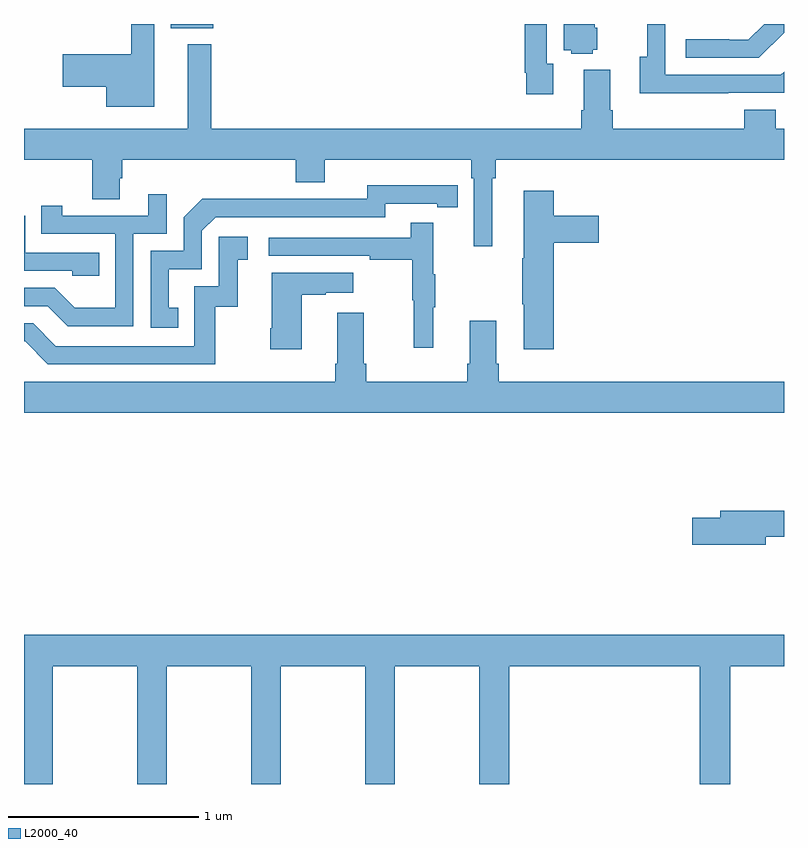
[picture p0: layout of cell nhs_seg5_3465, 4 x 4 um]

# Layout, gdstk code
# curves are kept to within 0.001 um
import gdstk
lib = gdstk.Library(unit=1e-6, precision=1e-09)
def R(c, l, rs):  # rectangles x0, y0, x1, y1
    for r in rs: c.add(gdstk.rectangle(r[:2], r[2:], *l))
def P(c, l, *ps):  # polygons
    for p in ps: c.add(gdstk.Polygon(p, *l))
L2000_40 = (2000, 40)

nhs_seg5_3465 = lib.new_cell('nhs_seg5_3465')
R(nhs_seg5_3465, L2000_40, [(315.773,866.777,315.996,866.799)])
P(nhs_seg5_3465, L2000_40, [(317.785,866.591),(317.751,866.591),(317.751,866.799),(317.635,866.799),(317.635,866.542),(317.643,866.542),(317.643,866.43),(317.785,866.43)],
  [(315.685,866.799),(315.564,866.799),(315.564,866.639),(315.204,866.639),(315.204,866.468),(315.434,866.468),(315.434,866.363),(315.685,866.363)],
  [(319,866.754),(319,866.799),(318.897,866.799),(318.813,866.715),(318.713,866.715),(318.713,866.718),(318.483,866.718),(318.483,866.622),(318.868,866.622)],
  [(317.994,866.664),(318.016,866.664),(318.016,866.778),(318.004,866.778),(318.004,866.799),(317.84,866.799),(317.84,866.66),(317.88,866.66),(317.88,866.642),(317.994,866.642)],
  [(318.707,866.436),(319,866.436),(319,866.548),(318.984,866.532),(318.375,866.532),(318.375,866.799),(318.279,866.799),(318.279,866.626),(318.242,866.626),(318.242,866.435),(318.707,866.435)],
  [(317.464,865.988),(317.483,865.988),(317.483,866.084),(319,866.084),(319,866.248),(318.956,866.248),(318.956,866.347),(318.791,866.347),(318.791,866.248),(318.098,866.248),(318.098,866.344),(318.085,866.344),(318.085,866.557),(317.945,866.557),(317.945,866.344),(317.933,866.344),(317.933,866.248),(315.985,866.248),(315.985,866.692),(315.863,866.692),(315.863,866.248),(315,866.248),(315,866.084),(315.358,866.084),(315.358,865.876),(315.505,865.876),(315.505,865.986),(315.518,865.986),(315.518,866.084),(316.43,866.084),(316.43,865.967),(316.582,865.967),(316.582,866.084),(317.354,866.084),(317.354,865.988),(317.367,865.988),(317.367,865.629),(317.464,865.629)],
  [(315.812,865.305),(315.763,865.305),(315.763,865.509),(315.936,865.509),(315.936,865.71),(316.008,865.782),(316.902,865.782),(316.902,865.854),(317.174,865.854),(317.174,865.834),(317.282,865.834),(317.282,865.95),(316.806,865.951),(316.806,865.878),(316.346,865.878),(316.346,865.88),(315.938,865.88),(315.84,865.782),(315.84,865.605),(315.666,865.605),(315.666,865.2),(315.812,865.2)],
  [(317.789,865.649),(318.025,865.649),(318.025,865.791),(317.789,865.791),(317.789,865.921),(317.63,865.921),(317.63,865.565),(317.623,865.565),(317.623,865.324),(317.63,865.324),(317.63,865.086),(317.789,865.086)],
  [(315.576,865.695),(315.75,865.695),(315.75,865.903),(315.653,865.903),(315.653,865.791),(315.202,865.791),(315.202,865.843),(315.091,865.843),(315.091,865.695),(315.48,865.695),(315.48,865.306),(315.266,865.306),(315.162,865.41),(315,865.41),(315,865.314),(315.125,865.314),(315.23,865.209),(315.576,865.209)],
  [(315.395,865.596),(315.006,865.596),(315.006,865.791),(315,865.791),(315,865.5),(315.255,865.5),(315.255,865.473),(315.395,865.473)],
  [(317.153,865.307),(317.164,865.307),(317.164,865.481),(317.153,865.481),(317.153,865.753),(317.035,865.753),(317.035,865.674),(316.287,865.674),(316.287,865.578),(316.819,865.578),(316.819,865.558),(317.043,865.558),(317.043,865.344),(317.05,865.344),(317.05,865.095),(317.153,865.095)],
  [(316.006,865.311),(316.124,865.311),(316.124,865.557),(316.177,865.557),(316.177,865.678),(316.026,865.678),(316.026,865.419),(315.897,865.419),(315.897,865.104),(315.168,865.104),(315.048,865.224),(315,865.224),(315,865.128),(315.006,865.128),(315.126,865.008),(316.006,865.008)],
  [(316.462,865.375),(316.589,865.375),(316.589,865.385),(316.732,865.385),(316.732,865.489),(316.304,865.489),(316.304,865.198),(316.297,865.198),(316.297,865.086),(316.462,865.086)],
  [(319,864.916),(317.498,864.916),(317.498,865.012),(317.485,865.012),(317.485,865.237),(317.345,865.237),(317.345,865.012),(317.333,865.012),(317.333,864.916),(316.802,864.916),(316.802,865.012),(316.789,865.012),(316.789,865.279),(316.649,865.279),(316.649,865.012),(316.637,865.012),(316.637,864.916),(315,864.916),(315,864.752),(319,864.752)],
  [(318.904,864.1),(319,864.1),(319,864.236),(318.665,864.236),(318.665,864.2),(318.516,864.2),(318.516,864.058),(318.904,864.058)],
  [(315.15,863.42),(315.595,863.42),(315.595,862.799),(315.75,862.799),(315.75,863.42),(316.195,863.42),(316.195,862.799),(316.35,862.799),(316.35,863.42),(316.795,863.42),(316.795,862.799),(316.95,862.799),(316.95,863.42),(317.395,863.42),(317.395,862.799),(317.555,862.799),(317.555,863.42),(318.557,863.42),(318.557,862.799),(318.717,862.799),(318.717,863.42),(319,863.42),(319,863.584),(315,863.584),(315,862.799),(315.15,862.799)])

lib.write_gds('nhs_seg5_3465.gds')
